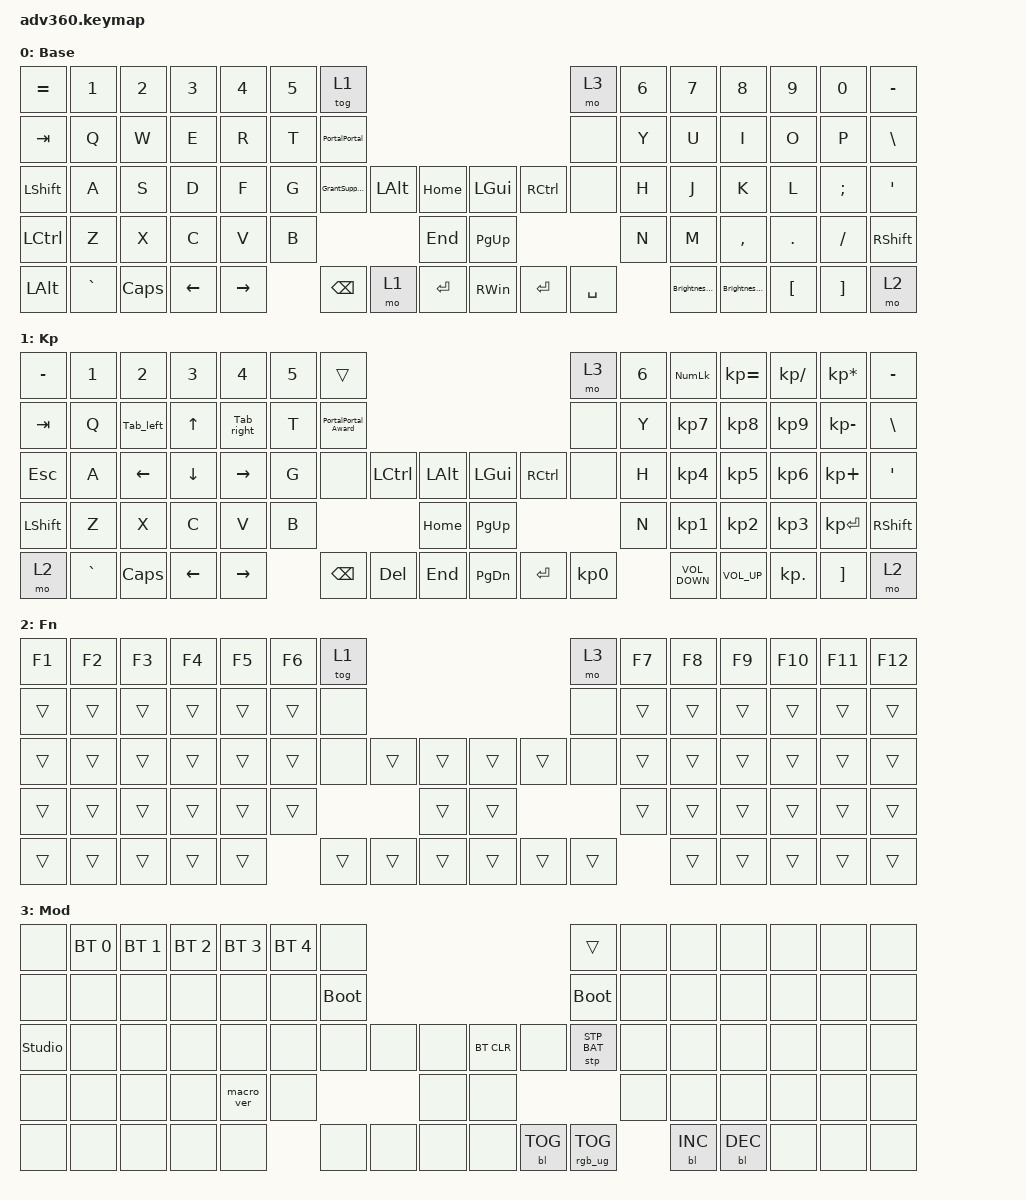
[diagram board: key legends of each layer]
#include <dt-bindings/zmk/stp.h>
#include <behaviors.dtsi>
#include <dt-bindings/zmk/backlight.h>
#include <dt-bindings/zmk/bt.h>
#include <dt-bindings/zmk/keys.h>
#include <dt-bindings/zmk/rgb.h>

/ {
    behaviors {
        #include "macros.dtsi"
      #include "version.dtsi"

        hm: homerow_mods {
            compatible = "zmk,behavior-hold-tap";
            label = "HOMEROW_MODS";
            #binding-cells = <2>;
            tapping-term-ms = <200>;
            quick_tap_ms = <175>;
            flavor = "tap-preferred";
            bindings = <&kp>, <&kp>;
        };
    };

    macros {
        Brightnessdown: Brightnessdown {
            compatible = "zmk,behavior-macro";
            #binding-cells = <0>;
            bindings = <&none &kp LC(DOWN)>;
            label = "BRIGHTNESSDOWN";
        };

        Brightnessup: Brightnessup {
            compatible = "zmk,behavior-macro";
            #binding-cells = <0>;
            bindings = <&none &kp LC(UP_ARROW)>;
            label = "BRIGHTNESSUP";
        };

        PortalPortal: PortalPortal {
            compatible = "zmk,behavior-macro";
            #binding-cells = <0>;
            bindings = <&none &kp LC(T) &kp H &kp T &kp T &kp P &kp COLON &kp FSLH &kp FSLH &kp O &kp R &kp A &kp P &kp P &kp S &kp DOT &kp O &kp S &kp U &kp DOT &kp E &kp D &kp U &kp FSLH &kp P &kp I &kp P &kp O &kp R &kp T &kp A &kp L &kp FSLH &kp G &kp R &kp A &kp N &kp T &kp FSLH &kp LC(V) &kp ENTER>;
            label = "PORTALPORTAL";
        };

        InvestigatorFolder: InvestigatorFolder {
            compatible = "zmk,behavior-macro";
            #binding-cells = <0>;
            bindings = <&none &kp F4 &kp LS(Z) &kp COLON &kp BSLH &kp LS(G) &kp LS(M) &kp LS(O) &kp BSLH &kp LS(G) &kp R &kp A &kp N &kp T &kp S &kp SPACE &kp LS(S) &kp U &kp P &kp P &kp O &kp R &kp T &kp BSLH &kp LS(I) &kp N &kp V &kp E &kp S &kp T &kp I &kp G &kp A &kp T &kp O &kp R &kp S &kp ENTER>;
            label = "INVESTIGATORFOLDER";
        };

        Tab_left: Tab_left {
            compatible = "zmk,behavior-macro";
            #binding-cells = <0>;
            bindings = <&none &kp LC(PAGE_UP)>;
            label = "TAB_LEFT";
        };

        Tab_right: Tab_right {
            compatible = "zmk,behavior-macro";
            #binding-cells = <0>;
            bindings = <&none &kp LC(PAGE_DOWN)>;
            label = "TAB_RIGHT";
        };

        GrantSupportFolder: GrantSupportFolder {
            compatible = "zmk,behavior-macro";
            #binding-cells = <0>;
            bindings = <&none &kp F4 &kp LS(Z) &kp COLON &kp BSLH &kp LS(G) &kp LS(M) &kp LS(O) &kp BSLH &kp LS(G) &kp R &kp A &kp N &kp T &kp S &kp SPACE &kp LS(S) &kp U &kp P &kp P &kp O &kp R &kp T &kp ENTER>;
            label = "GRANTSUPPORTFOLDER";
        };

        PortalPortal_Award: PortalPortal_Award {
            compatible = "zmk,behavior-macro";
            #binding-cells = <0>;
            bindings = <&none &kp LC(T) &kp H &kp T &kp T &kp P &kp COLON &kp FSLH &kp FSLH &kp O &kp R &kp A &kp P &kp P &kp S &kp DOT &kp O &kp S &kp U &kp DOT &kp E &kp D &kp U &kp FSLH &kp P &kp I &kp P &kp O &kp R &kp T &kp A &kp L &kp FSLH &kp A &kp W &kp A &kp R &kp D &kp FSLH &kp LC(V) &kp ENTER>;
            label = "PORTALPORTAL_AWARD";
        };
    };

    keymap {
        compatible = "zmk,keymap";

        default_layer {
            display-name = "Base";
            bindings = <
&kp EQUAL         &kp N1     &kp N2    &kp N3    &kp N4     &kp N5  &tog 1                                                                      &mo 3      &kp N6  &kp N7           &kp N8         &kp N9    &kp N0    &kp MINUS
&kp TAB           &kp Q      &kp W     &kp E     &kp R      &kp T   &PortalPortal                                                               &none      &kp Y   &kp U            &kp I          &kp O     &kp P     &kp BSLH
&kp LEFT_SHIFT    &kp A      &kp S     &kp D     &kp F      &kp G   &GrantSupportFolder  &kp LEFT_ALT  &kp HOME       &kp LGUI       &kp RCTRL  &none      &kp H   &kp J            &kp K          &kp L     &kp SEMI  &kp SQT
&kp LEFT_CONTROL  &kp Z      &kp X     &kp C     &kp V      &kp B                                      &kp END        &kp PG_UP                            &kp N   &kp M            &kp COMMA      &kp DOT   &kp FSLH  &kp RSHFT
&kp LEFT_ALT      &kp GRAVE  &kp CAPS  &kp LEFT  &kp RIGHT          &kp BSPC             &mo 1         &kp ENTER      &kp RIGHT_WIN  &kp ENTER  &kp SPACE          &Brightnessdown  &Brightnessup  &kp LBKT  &kp RBKT  &mo 2
            >;
        };

        keypad {
            display-name = "Kp";
            bindings = <
&kp MINUS  &kp N1     &kp N2     &kp N3        &kp N4      &kp N5  &trans                                                              &mo 3      &kp N6  &kp KP_NUM         &kp KP_EQUAL     &kp KP_DIVIDE  &kp KP_MULTIPLY  &kp MINUS
&kp TAB    &kp Q      &Tab_left  &kp UP_ARROW  &Tab_right  &kp T   &PortalPortal_Award                                                 &none      &kp Y   &kp KP_N7          &kp KP_N8        &kp KP_N9      &kp KP_MINUS     &kp BSLH
&kp ESC    &kp A      &kp LEFT   &kp DOWN      &kp RIGHT   &kp G   &none                &kp LCTRL  &kp LALT      &kp LGUI   &kp RCTRL  &none      &kp H   &kp KP_N4          &kp KP_N5        &kp KP_N6      &kp KP_PLUS      &kp SQT
&kp LSHFT  &kp Z      &kp X      &kp C         &kp V       &kp B                                   &kp HOME      &kp PG_UP                        &kp N   &kp KP_N1          &kp KP_N2        &kp KP_N3      &kp KP_ENTER     &kp RSHFT
&mo 2      &kp GRAVE  &kp CAPS   &kp LEFT      &kp RIGHT           &kp BSPC             &kp DEL    &kp END       &kp PG_DN  &kp ENTER  &kp KP_N0          &kp C_VOLUME_DOWN  &kp C_VOLUME_UP  &kp KP_DOT     &kp RBKT         &mo 2
            >;
        };

        fn {
            display-name = "Fn";
            bindings = <
&kp F1  &kp F2  &kp F3  &kp F4  &kp F5  &kp F6  &tog 1                                      &mo 3   &kp F7  &kp F8  &kp F9  &kp F10  &kp F11  &kp F12
&trans  &trans  &trans  &trans  &trans  &trans  &none                                       &none   &trans  &trans  &trans  &trans   &trans   &trans
&trans  &trans  &trans  &trans  &trans  &trans  &none   &trans  &trans      &trans  &trans  &none   &trans  &trans  &trans  &trans   &trans   &trans
&trans  &trans  &trans  &trans  &trans  &trans                  &trans      &trans                  &trans  &trans  &trans  &trans   &trans   &trans
&trans  &trans  &trans  &trans  &trans          &trans  &trans  &trans      &trans  &trans  &trans          &trans  &trans  &trans   &trans   &trans
            >;
        };

        mod {
            display-name = "Mod";
            bindings = <
&none           &bt BT_SEL 0  &bt BT_SEL 1  &bt BT_SEL 2  &bt BT_SEL 3  &bt BT_SEL 4  &none                                                  &trans           &none  &none       &none       &none  &none  &none
&none           &none         &none         &none         &none         &none         &bootloader                                            &bootloader      &none  &none       &none       &none  &none  &none
&studio_unlock  &none         &none         &none         &none         &none         &none        &none  &none      &bt BT_CLR  &none       &stp STP_BAT     &none  &none       &none       &none  &none  &none
&none           &none         &none         &none         &macro_ver    &none                             &none      &none                                    &none  &none       &none       &none  &none  &none
&none           &none         &none         &none         &none                       &none        &none  &none      &none       &bl BL_TOG  &rgb_ug RGB_TOG         &bl BL_INC  &bl BL_DEC  &none  &none  &none
            >;
        };

        extra1 {
            display-name = "Red";
            status = "reserved";
        };

        extra2 {
            display-name = "Purple";
            status = "reserved";
        };

        extra3 {
            display-name = "Cyan";
            status = "reserved";
        };

        extra4 {
            display-name = "Yellow";
            status = "reserved";
        };
    };
};
